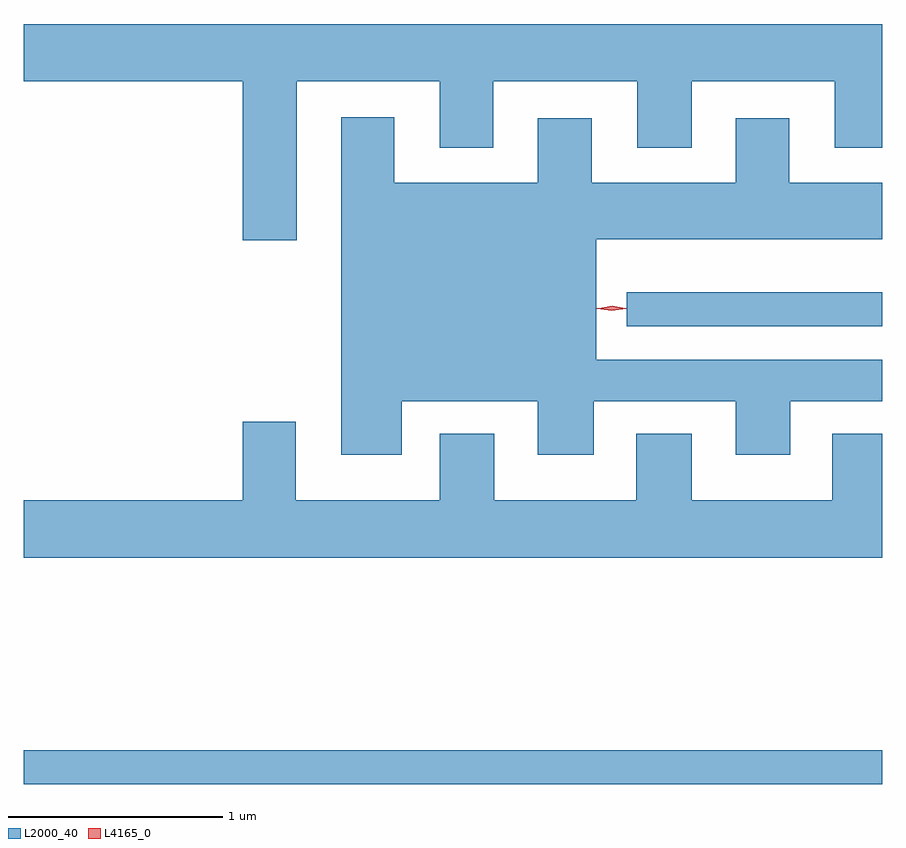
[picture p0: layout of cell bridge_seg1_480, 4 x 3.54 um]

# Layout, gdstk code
import gdstk
lib = gdstk.Library(unit=1e-6, precision=1e-09)
def R(c, l, rs):  # rectangles x0, y0, x1, y1
    for r in rs: c.add(gdstk.rectangle(r[:2], r[2:], *l))
def P(c, l, *ps):  # polygons
    for p in ps: c.add(gdstk.Polygon(p, *l))
L2000_40 = (2000, 40)
L4165_0 = (4165, 0)

bridge_seg1_480 = lib.new_cell('bridge_seg1_480')
R(bridge_seg1_480, L2000_40, [(478.632,845.241,482.632,845.399), (481.443,847.376,482.632,847.534)])
P(bridge_seg1_480, L2000_40, [(479.904,848.516),(480.571,848.516),(480.571,848.206),(480.819,848.206),(480.819,848.516),(481.491,848.516),(481.491,848.206),(481.744,848.206),(481.744,848.516),(482.411,848.516),(482.411,848.206),(482.632,848.206),(482.632,848.784),(478.632,848.784),(478.632,848.516),(479.651,848.516),(479.651,847.776),(479.904,847.776)],
  [(480.394,847.026),(481.026,847.026),(481.026,846.776),(481.289,846.776),(481.289,847.026),(481.951,847.026),(481.951,846.776),(482.204,846.776),(482.204,847.026),(482.632,847.026),(482.632,847.219),(481.299,847.219),(481.299,847.781),(482.632,847.781),(482.632,848.044),(482.199,848.044),(482.199,848.344),(481.951,848.344),(481.951,848.044),(481.279,848.044),(481.279,848.344),(481.026,848.344),(481.026,848.044),(480.359,848.044),(480.359,848.349),(480.111,848.349),(480.111,846.776),(480.394,846.776)],
  [(482.632,846.874),(482.401,846.874),(482.401,846.564),(481.744,846.564),(481.744,846.874),(481.486,846.874),(481.486,846.564),(480.824,846.564),(480.824,846.874),(480.571,846.874),(480.571,846.564),(479.899,846.564),(479.899,846.929),(479.651,846.929),(479.651,846.564),(478.632,846.564),(478.632,846.296),(482.632,846.296)])
P(bridge_seg1_480, L4165_0, [(481.375,847.45),(481.313,847.459),(481.312,847.46),(481.313,847.46),(481.375,847.47),(481.436,847.46),(481.437,847.46),(481.436,847.459)],
  [(481.371,847.447),(481.302,847.457),(481.302,847.457),(481.302,847.458),(481.371,847.467),(481.44,847.458),(481.44,847.457),(481.44,847.457)])

lib.write_gds('bridge_seg1_480.gds')
